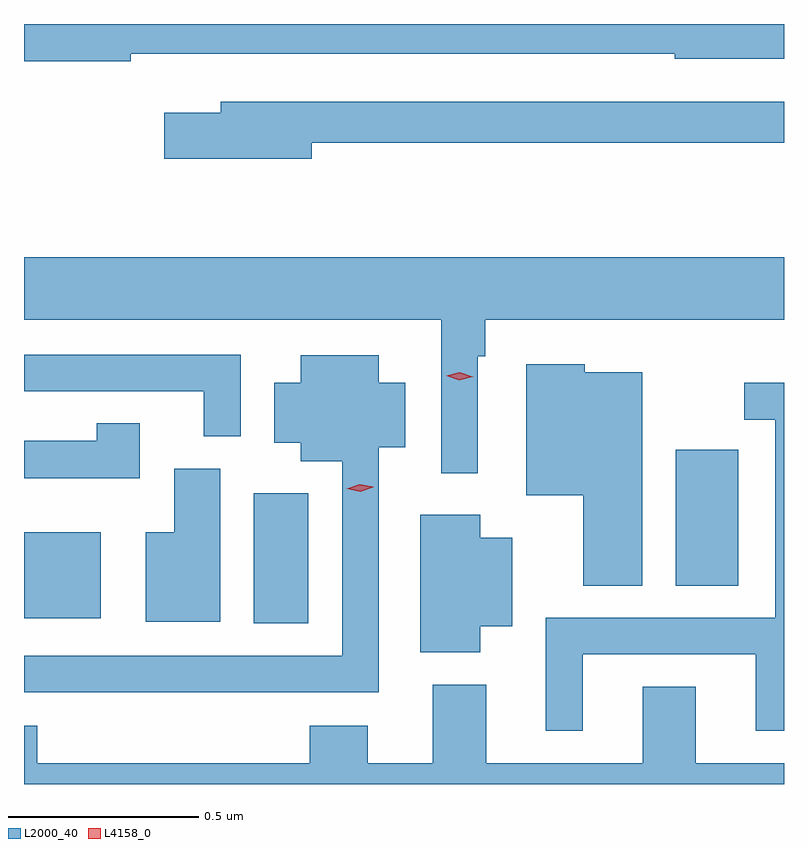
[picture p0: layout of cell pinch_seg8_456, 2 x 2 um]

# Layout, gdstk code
import gdstk
lib = gdstk.Library(unit=1e-6, precision=1e-09)
def R(c, l, rs):  # rectangles x0, y0, x1, y1
    for r in rs: c.add(gdstk.rectangle(r[:2], r[2:], *l))
def P(c, l, *ps):  # polygons
    for p in ps: c.add(gdstk.Polygon(p, *l))
L2000_40 = (2000, 40)
L4158_0 = (4158, 0)

pinch_seg8_456 = lib.new_cell('pinch_seg8_456')
R(pinch_seg8_456, L2000_40, [(334.958,1123.693,335.101,1124.035), (334.353,1123.706,334.555,1123.933), (336.068,1123.792,336.232,1124.149)])
P(pinch_seg8_456, L2000_40, [(334.634,1125.192),(336.066,1125.192),(336.066,1125.179),(336.353,1125.179),(336.353,1125.27),(334.353,1125.27),(334.353,1125.172),(334.634,1125.172)],
  [(335.11,1124.958),(336.353,1124.958),(336.353,1125.066),(334.871,1125.066),(334.871,1125.037),(334.722,1125.037),(334.722,1124.915),(335.11,1124.915)],
  [(335.547,1124.396),(335.567,1124.396),(335.567,1124.492),(336.353,1124.492),(336.353,1124.656),(334.353,1124.656),(334.353,1124.492),(335.451,1124.492),(335.451,1124.088),(335.547,1124.088)],
  [(334.923,1124.4),(334.353,1124.4),(334.353,1124.304),(334.826,1124.304),(334.826,1124.185),(334.923,1124.185)],
  [(335.021,1123.512),(335.286,1123.512),(335.286,1124.156),(335.356,1124.156),(335.356,1124.326),(335.287,1124.326),(335.287,1124.398),(335.081,1124.398),(335.081,1124.326),(335.012,1124.326),(335.012,1124.168),(335.081,1124.168),(335.081,1124.12),(335.19,1124.12),(335.19,1123.608),(334.353,1123.608),(334.353,1123.512),(334.471,1123.512),(334.471,1123.511),(335.021,1123.511)],
  [(335.98,1124.353),(335.829,1124.353),(335.829,1124.374),(335.675,1124.374),(335.675,1124.03),(335.825,1124.03),(335.825,1123.792),(335.98,1123.792)],
  [(335.824,1123.611),(336.278,1123.611),(336.278,1123.41),(336.353,1123.41),(336.353,1124.326),(336.249,1124.326),(336.249,1124.229),(336.33,1124.229),(336.33,1123.707),(335.726,1123.707),(335.726,1123.41),(335.824,1123.41)],
  [(334.657,1124.219),(334.544,1124.219),(334.544,1124.173),(334.353,1124.173),(334.353,1124.075),(334.657,1124.075)],
  [(334.87,1124.1),(334.748,1124.1),(334.748,1123.933),(334.673,1123.933),(334.673,1123.697),(334.87,1123.697)],
  [(335.554,1123.685),(335.638,1123.685),(335.638,1123.918),(335.554,1123.918),(335.554,1123.978),(335.396,1123.978),(335.396,1123.617),(335.554,1123.617)],
  [(336.353,1123.324),(336.121,1123.324),(336.121,1123.526),(335.981,1123.526),(335.981,1123.324),(335.569,1123.324),(335.569,1123.531),(335.429,1123.531),(335.429,1123.324),(335.257,1123.324),(335.257,1123.423),(335.105,1123.423),(335.105,1123.324),(334.388,1123.324),(334.388,1123.423),(334.353,1123.423),(334.353,1123.27),(336.353,1123.27)])
P(pinch_seg8_456, L4158_0, [(335.499,1124.333),(335.464,1124.345),(335.464,1124.345),(335.464,1124.345),(335.5,1124.353),(335.534,1124.342),(335.535,1124.342),(335.534,1124.342)],
  [(335.238,1124.039),(335.202,1124.047),(335.202,1124.047),(335.202,1124.047),(335.236,1124.059),(335.272,1124.052),(335.272,1124.052),(335.272,1124.051)])

lib.write_gds('pinch_seg8_456.gds')
